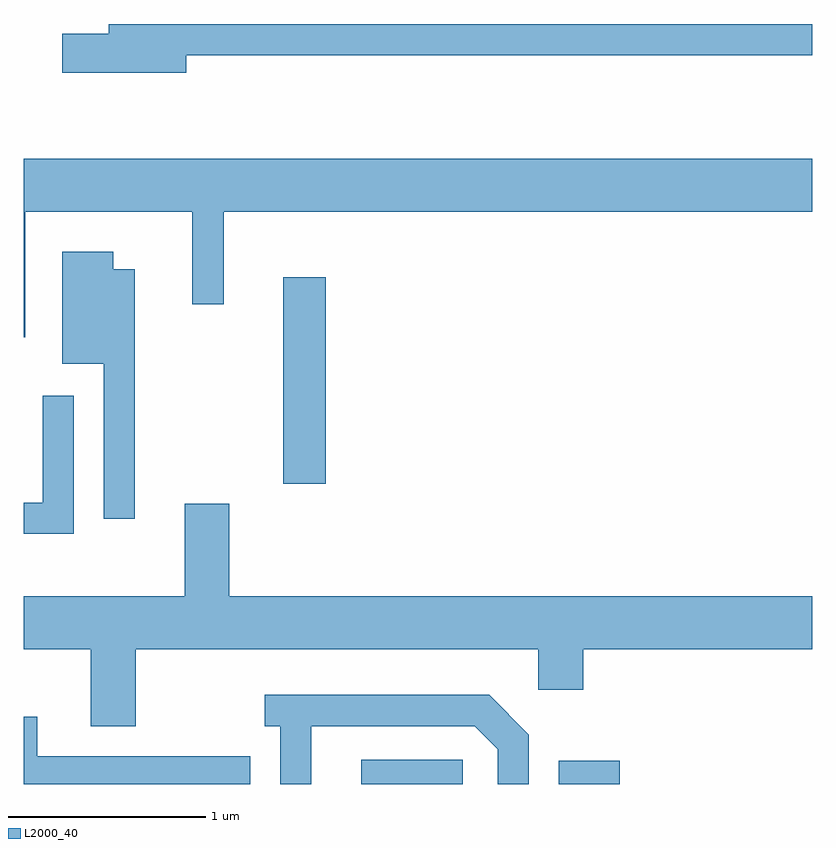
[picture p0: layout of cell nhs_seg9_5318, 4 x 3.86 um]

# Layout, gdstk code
import gdstk
lib = gdstk.Library(unit=1e-6, precision=1e-09)
def R(c, l, rs):  # rectangles x0, y0, x1, y1
    for r in rs: c.add(gdstk.rectangle(r[:2], r[2:], *l))
def P(c, l, *ps):  # polygons
    for p in ps: c.add(gdstk.Polygon(p, *l))
L2000_40 = (2000, 40)

nhs_seg9_5318 = lib.new_cell('nhs_seg9_5318')
R(nhs_seg9_5318, L2000_40, [(343.323,2024.432,343.839,2024.554), (344.326,2024.432,344.634,2024.549), (342.926,2025.956,343.144,2027.004)])
P(nhs_seg9_5318, L2000_40, [(342.434,2028.131),(345.611,2028.131),(345.611,2028.289),(342.041,2028.289),(342.041,2028.239),(341.806,2028.239),(341.806,2028.041),(342.434,2028.041)],
  [(341.619,2027.336),(342.466,2027.336),(342.466,2026.868),(342.624,2026.868),(342.624,2027.336),(345.611,2027.336),(345.611,2027.604),(341.611,2027.604),(341.611,2026.698),(341.619,2026.698)],
  [(342.174,2027.044),(342.064,2027.044),(342.064,2027.134),(341.806,2027.134),(341.806,2026.566),(342.016,2026.566),(342.016,2025.778),(342.174,2025.778)],
  [(341.864,2026.403),(341.706,2026.403),(341.706,2025.859),(341.611,2025.859),(341.611,2025.701),(341.864,2025.701)],
  [(342.179,2025.116),(344.221,2025.116),(344.221,2024.911),(344.449,2024.911),(344.449,2025.116),(345.611,2025.116),(345.611,2025.384),(342.654,2025.384),(342.654,2025.854),(342.426,2025.854),(342.426,2025.384),(341.611,2025.384),(341.611,2025.116),(341.951,2025.116),(341.951,2024.726),(342.179,2024.726)],
  [(343.069,2024.726),(343.899,2024.726),(344.016,2024.609),(344.016,2024.432),(344.174,2024.432),(344.174,2024.682),(343.972,2024.884),(342.833,2024.884),(342.833,2024.726),(342.911,2024.726),(342.911,2024.432),(343.069,2024.432)],
  [(342.759,2024.574),(341.679,2024.574),(341.679,2024.774),(341.611,2024.774),(341.611,2024.432),(342.759,2024.432)])

lib.write_gds('nhs_seg9_5318.gds')
